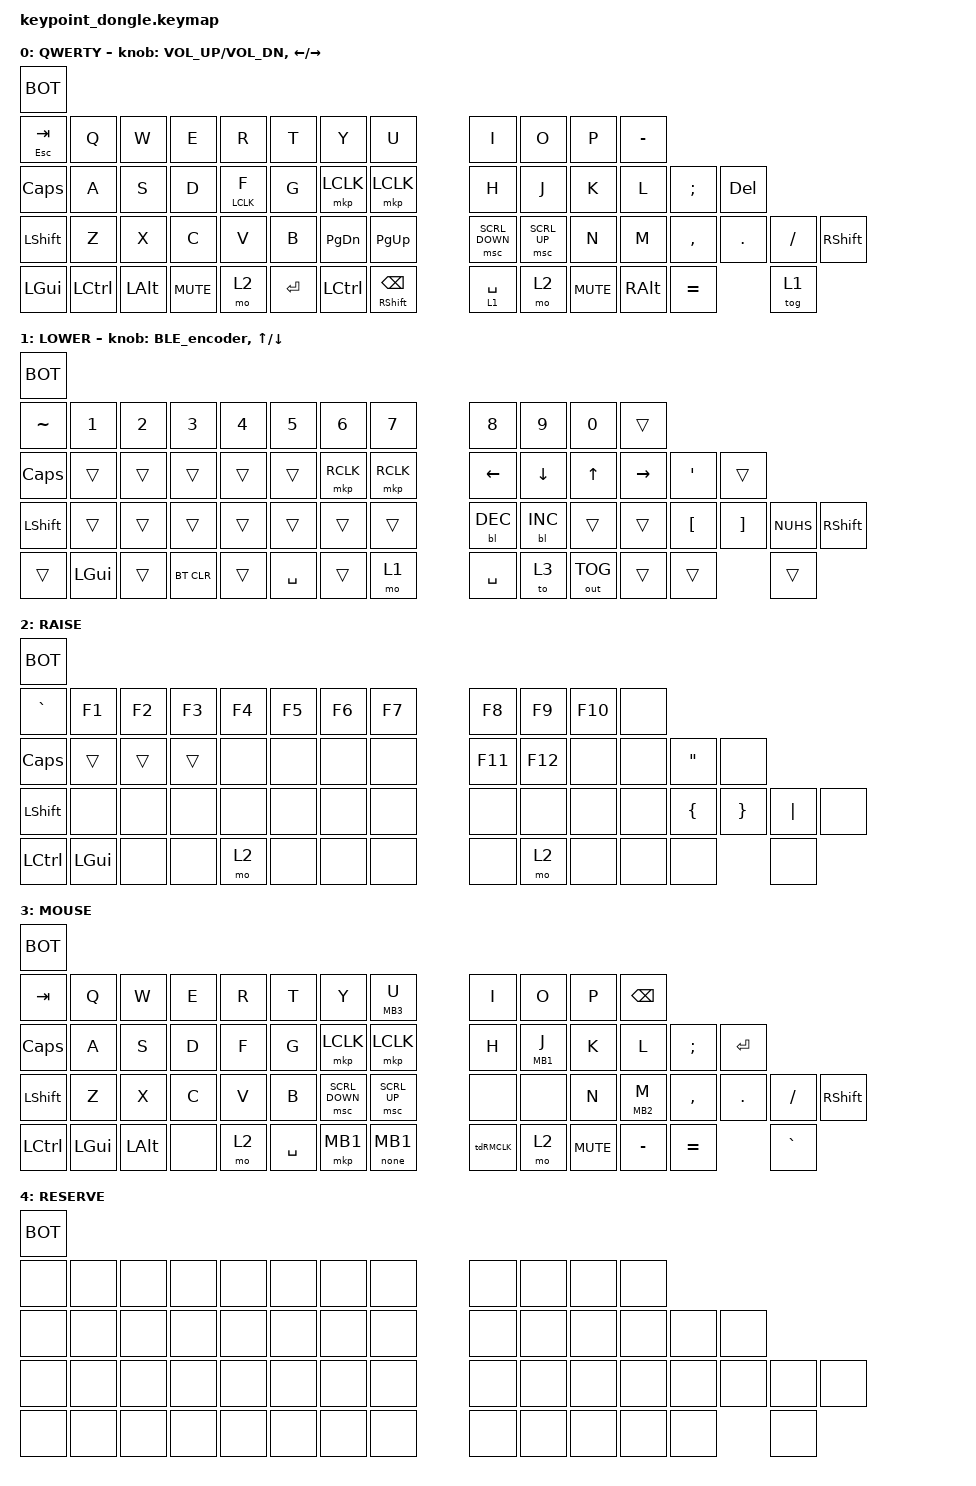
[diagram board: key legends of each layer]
/*
 * Copyright (c) 2025 ZitaoTech
 *
 * SPDX-License-Identifier: MIT
 */

#include <dt-bindings/zmk/mouse.h>
#include <behaviors/mouse_key_toggle.dtsi> // for &mktg
#include <behaviors.dtsi>
#include <dt-bindings/zmk/backlight.h>
#include <dt-bindings/zmk/bt.h>
#include <dt-bindings/zmk/keys.h>
#include <dt-bindings/zmk/outputs.h>
#include <dt-bindings/zmk/pointing.h>

#define LOWER 1
#define RAISE 2
#define MOUSE 3
#define BOT bootloader

/ {
    input_processors {
        zip_temp_layer: zip_temp_layer {
            compatible = "zmk,input-processor-temp-layer";
            #input-processor-cells = <2>;
        };

        ip_behaviors0: ip_behaviors0 {
            compatible = "zmk,input-processor-behaviors";
            #input-processor-cells = <0>;
            type = <INPUT_EV_KEY>;
            codes = <INPUT_BTN_0>;
            bindings = <&kp RIGHT>;
        };

        ip_behaviors1: ip_behaviors1 {
            compatible = "zmk,input-processor-behaviors";
            #input-processor-cells = <0>;
            type = <INPUT_EV_KEY>;
            codes = <INPUT_BTN_1>;
            bindings = <&kp LEFT>;
        };

        ip_behaviors2: ip_behaviors2 {
            compatible = "zmk,input-processor-behaviors";
            #input-processor-cells = <0>;
            type = <INPUT_EV_KEY>;
            codes = <INPUT_BTN_2>;
            bindings = <&kp DOWN>;
        };

        ip_behaviors3: ip_behaviors3 {
            compatible = "zmk,input-processor-behaviors";
            #input-processor-cells = <0>;
            type = <INPUT_EV_KEY>;
            codes = <INPUT_BTN_3>;
            bindings = <&kp UP>;
        };
    };
};

/ {
    behaviors {
        td0: tap_dance_0 {
            compatible = "zmk,behavior-tap-dance";
            #binding-cells = <0>;
            tapping-term-ms = <400>;
            bindings = <&mkp LCLK>, <&bt BT_CLR>;
        };
    };

    behaviors {
        tdRMCLK: tap_dance_R_LMouse {
            compatible = "zmk,behavior-tap-dance";
            #binding-cells = <0>;
            tapping-term-ms = <400>;
            bindings = <&mkp RCLK>, <&mkp MCLK>;
        };
    };

    behaviors {
        hm: homerow_mods {
            compatible = "zmk,behavior-hold-tap";
            #binding-cells = <2>;
            tapping-term-ms = <500>;
            bindings = <&kp &kp>;
        };
    };

    behaviors {
        LMouse_sc: behavior_LMouse_Scroll {
            compatible = "zmk,behavior-hold-tap";
            #binding-cells = <2>;
            flavor = "tap-preferred";     /* 单击优先 */
            tapping-term-ms = <200>;       /* 长按阈值 */
            bindings = <&none &mkp>;        /* hold=none, tap=Lmouse */
        };
    };

    behaviors {
        M_kp: behavior_mouse_keypress {
            compatible = "zmk,behavior-hold-tap";
            #binding-cells = <2>;
            flavor = "tap-preferred";     /* 单击优先 */
            tapping-term-ms = <200>;       /* 长按阈值 */
            bindings = <&mkp &kp>;        /* hold=mou key press, tap=key*/
        };
    };

    behaviors {
        BLE_encoder: BLE_encoder {
            compatible = "zmk,behavior-sensor-rotate";
            #sensor-binding-cells = <0>;
            bindings = <&bt BT_NXT>, <&bt BT_PRV>;
        };
    };

    keymap {
        compatible = "zmk,keymap";

        default_layer {
            display-name = "QWERTY";
            bindings = <
&BOT
&mt ESC TAB   &kp Q             &kp W     &kp E       &kp R         &kp T      &kp Y             &kp U                      &kp I           &kp O         &kp P       &kp MINUS
&kp CAPS      &kp A             &kp S     &kp D       &M_kp LCLK F  &kp G      &mkp LCLK         &mkp LCLK                  &kp H           &kp J         &kp K       &kp L          &kp SEMI   &kp DELETE
&kp LSHFT     &kp Z             &kp X     &kp C       &kp V         &kp B      &kp PG_DN         &kp PG_UP                  &msc SCRL_DOWN  &msc SCRL_UP  &kp N       &kp M          &kp COMMA  &kp DOT     &kp FSLH  &kp RSHFT
&kp LEFT_GUI  &kp LEFT_CONTROL  &kp LALT  &kp C_MUTE  &mo 2         &kp ENTER  &kp LEFT_CONTROL  &mt RIGHT_SHIFT BACKSPACE  &lt 1 SPACE     &mo 2         &kp C_MUTE  &kp RIGHT_ALT  &kp EQUAL              &tog 1
            >;

            sensor-bindings = <&inc_dec_kp C_VOL_UP C_VOL_DN &inc_dec_kp LEFT RIGHT>;
        };

        lower_layer {
            display-name = "LOWER";
            bindings = <
&BOT
&kp TILDE  &kp N1    &kp N2  &kp N3      &kp N4  &kp N5     &kp N6     &kp N7     &kp N8      &kp N9      &kp N0        &trans
&kp CAPS   &trans    &trans  &trans      &trans  &trans     &mkp RCLK  &mkp RCLK  &kp LEFT    &kp DOWN    &kp UP_ARROW  &kp RIGHT  &kp SINGLE_QUOTE  &trans
&kp LSHFT  &trans    &trans  &trans      &trans  &trans     &trans     &trans     &bl BL_DEC  &bl BL_INC  &trans        &trans     &kp LBKT          &kp RBKT  &kp NUHS  &kp RSHFT
&trans     &kp LGUI  &trans  &bt BT_CLR  &trans  &kp SPACE  &trans     &mo 1      &kp SPACE   &to 3       &out OUT_TOG  &trans     &trans                      &trans
            >;

            sensor-bindings = <&BLE_encoder &inc_dec_kp UP DOWN>;
        };

        raise_layer {
            display-name = "RAISE";
            bindings = <
&BOT
&kp GRAVE  &kp F1    &kp F2  &kp F3  &kp F4  &kp F5  &kp F6  &kp F7  &kp F8   &kp F9   &kp F10  &none
&kp CAPS   &trans    &trans  &trans  &none   &none   &none   &none   &kp F11  &kp F12  &none    &none  &kp DOUBLE_QUOTES  &none
&kp LSHFT  &none     &none   &none   &none   &none   &none   &none   &none    &none    &none    &none  &kp LEFT_BRACE     &kp RIGHT_BRACE  &kp PIPE  &none
&kp LCTRL  &kp LGUI  &none   &none   &mo 2   &none   &none   &none   &none    &mo 2    &none    &none  &none                               &none
            >;
        };

        MOUSE_layer {
            display-name = "MOUSE";
            bindings = <
&BOT
&kp TAB    &kp Q     &kp W     &kp E  &kp R  &kp T      &kp Y           &M_kp MB3 U       &kp I     &kp O        &kp P       &kp BSPC
&kp CAPS   &kp A     &kp S     &kp D  &kp F  &kp G      &mkp LCLK       &mkp LCLK         &kp H     &M_kp MB1 J  &kp K       &kp L        &kp SEMI   &kp ENTER
&kp LSHFT  &kp Z     &kp X     &kp C  &kp V  &kp B      &msc SCRL_DOWN  &msc SCRL_UP      &none     &none        &kp N       &M_kp MB2 M  &kp COMMA  &kp DOT    &kp FSLH   &kp RSHFT
&kp LCTRL  &kp LGUI  &kp LALT  &none  &mo 2  &kp SPACE  &mkp MB1        &LMouse_sc 0 MB1  &tdRMCLK  &mo 2        &kp C_MUTE  &kp MINUS    &kp EQUAL             &kp GRAVE
            >;
        };

        RES_layer {
            display-name = "RESERVE";
            bindings = <
&BOT
&none  &none  &none  &none  &none  &none  &none  &none  &none  &none  &none  &none
&none  &none  &none  &none  &none  &none  &none  &none  &none  &none  &none  &none  &none  &none
&none  &none  &none  &none  &none  &none  &none  &none  &none  &none  &none  &none  &none  &none  &none  &none
&none  &none  &none  &none  &none  &none  &none  &none  &none  &none  &none  &none  &none         &none
            >;
        };
    };
};
